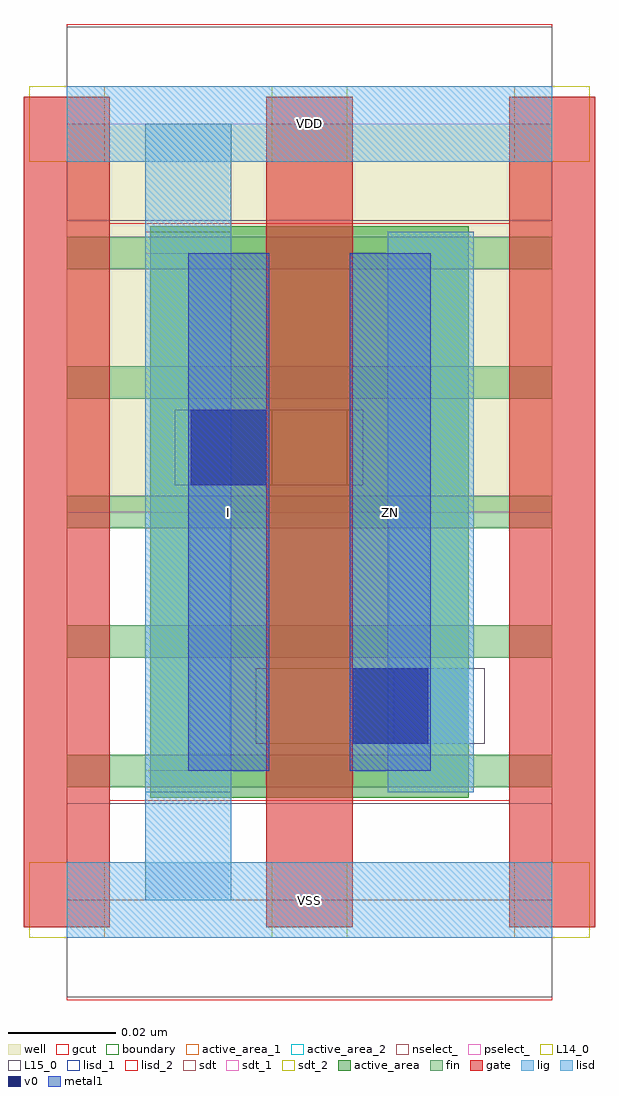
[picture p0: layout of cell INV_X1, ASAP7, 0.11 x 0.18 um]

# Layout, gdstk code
import gdstk
lib = gdstk.Library(unit=1e-6, precision=1e-10)
def R(c, l, rs):  # rectangles x0, y0, x1, y1
    for r in rs: c.add(gdstk.rectangle(r[:2], r[2:], *l))
def A(c, l, x, y, w, h, nx, ny, dx, dy):  # array of equal rectangles
    R(c, l, [(x+i*dx, y+j*dy, x+i*dx+w, y+j*dy+h) for i in range(nx) for j in range(ny)])
well = (1, 0)
fin = (2, 0)
gate = (7, 0)
gcut = (10, 0)
active_area = (11, 0)
active_area_1 = (11, 1)
active_area_2 = (11, 2)
nselect_ = (12, 0)
pselect_ = (13, 0)
L14_0 = (14, 0)
L15_0 = (15, 0)
lig = (16, 0)
lisd = (17, 0)
lisd_1 = (17, 1)
lisd_2 = (17, 2)
v0 = (18, 0)
metal1 = (19, 0)
sdt = (88, 0)
sdt_1 = (88, 1)
sdt_2 = (88, 2)
boundary = (100, 0)

inv_x1 = lib.new_cell('INV_X1')
R(inv_x1, well, [(0,0.072,0.09,0.144)])
A(inv_x1, fin, 0, 0.021, 0.09, 0.006, 1, 5, 0, 0.024)
A(inv_x1, gate, -0.008, -0.005, 0.016, 0.154, 3, 1, 0.045, 0)
R(inv_x1, gcut, [(0,-0.0185,0.09,0.0185), (-0.008,-0.005,0.008,0.149), (0.082,-0.005,0.098,0.149), (0,0.1255,0.09,0.1625)])
R(inv_x1, active_area, [(0.0155,0.019,0.0745,0.125), (0.0155,0.019,0.0745,0.125)])
R(inv_x1, active_area_1, [(0.0155,0.019,0.0745,0.125)])
R(inv_x1, active_area_2, [(0.0155,0.019,0.0745,0.125)])
R(inv_x1, nselect_, [(0,0,0.09,0.072)])
R(inv_x1, pselect_, [(0,0.072,0.09,0.144)])
A(inv_x1, L14_0, -0.007, -0.007, 0.014, 0.014, 3, 2, 0.045, 0.144)
R(inv_x1, L14_0, [(0.0605,0.029,0.0745,0.043), (0.038,0.077,0.052,0.091)])
R(inv_x1, L15_0, [(0,-0.018,0.09,0.018), (0.035,0.029,0.0775,0.043), (0.02,0.077,0.055,0.091), (0,0.126,0.09,0.162)])
R(inv_x1, lig, [(0,-0.007,0.09,0.007), (0.0605,0.029,0.0745,0.043), (0,0.137,0.09,0.151)])
R(inv_x1, lisd, [(0.0145,0,0.0305,0.124), (0.0145,0.02,0.0305,0.144), (0.0595,0.02,0.0755,0.124), (0.0595,0.02,0.0755,0.124)])
R(inv_x1, lisd_1, [(0.0145,0.02,0.0305,0.144), (0.0595,0.02,0.0755,0.124)])
R(inv_x1, lisd_2, [(0.0145,0,0.0305,0.124), (0.0595,0.02,0.0755,0.124), (0.0595,0.02,0.0755,0.124)])
R(inv_x1, v0, [(0.053,0.029,0.067,0.043), (0.023,0.077,0.037,0.091)])
R(inv_x1, metal1, [(0.0225,0.024,0.0375,0.12), (0.0525,0.024,0.0675,0.12)])
R(inv_x1, sdt, [(0.0595,0.02,0.0755,0.124), (0.0145,0.024,0.0305,0.12), (0.0145,0.024,0.0305,0.12), (0.0595,0.024,0.0755,0.12)])
R(inv_x1, sdt_1, [(0.0595,0.02,0.0755,0.124), (0.0145,0.024,0.0305,0.12)])
R(inv_x1, sdt_2, [(0.0595,0.02,0.0755,0.124), (0.0145,0.024,0.0305,0.12), (0.0595,0.024,0.0755,0.12)])
R(inv_x1, boundary, [(0,0,0.09,0.144)])
inv_x1.add(gdstk.Label('VDD', (0.045,0.144), layer=1, texttype=251))
inv_x1.add(gdstk.Label('VSS', (0.045,0), layer=3, texttype=251))
inv_x1.add(gdstk.Label('VSS', (0.045,0), layer=15, texttype=251))
inv_x1.add(gdstk.Label('VDD', (0.045,0.144), layer=15, texttype=251))
inv_x1.add(gdstk.Label('I', (0.03,0.072), layer=19, texttype=251))
inv_x1.add(gdstk.Label('ZN', (0.06,0.072), layer=19, texttype=251))

lib.write_gds('INV_X1.gds')
